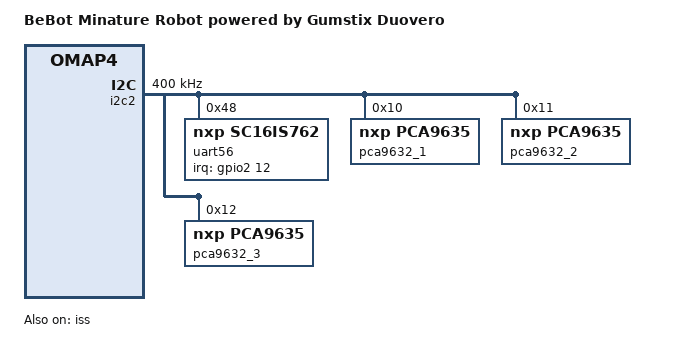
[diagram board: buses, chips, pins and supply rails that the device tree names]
/*
 * Copyright (C) 2014 Florian Vaussard, EPFL Mobots group
 *
 * This program is free software; you can redistribute it and/or modify
 * it under the terms of the GNU General Public License version 2 as
 * published by the Free Software Foundation.
 */
/dts-v1/;

#include "omap4-duovero.dtsi"

#include <dt-bindings/input/input.h>

/ {
	model = "BeBot Minature Robot powered by Gumstix Duovero";
	compatible = "upb,omap4-duovero-bebot", "gumstix,omap4-duovero", "ti,omap4430", "ti,omap4";

	ocp {
		iss: iss@52000000 {
			compatible = "ti,omap4-iss";
			reg = <0x52000000 0x100>, /* top */
			      <0x52001000 0x170>, /* csi2_a_regs1 */
			      <0x52001170 0x020>, /* camerarx_core1 */
			      <0x52001400 0x170>, /* csi2_b_regs1 */
			      <0x52001570 0x020>, /* camerarx_core2 */
			      <0x52002000 0x200>, /* bte */
			      <0x52010000 0x0a0>, /* isp_sys1 */
			      <0x52010400 0x400>, /* isp_resizer */
			      <0x52010800 0x800>, /* isp_ipipe */
			      <0x52011000 0x200>, /* isp_isif */
			      <0x52011200 0x080>; /* isp_ipipeif */
			reg-names = "top",
			            "csi2_a_regs1",
			            "camerarx_core1",
			            "csi2_b_regs1",
			            "camerarx_core2",
			            "bte",
			            "isp_sys1",
			            "isp_resizer",
			            "isp_ipipe",
			            "isp_isif",
			            "isp_ipipeif";
			status = "ok";
			ti,hwmods = "iss";
			interrupts = <GIC_SPI 24 IRQ_TYPE_LEVEL_HIGH>;
			//clocks = <&ducati_clk_mux_ck>, <&iss_ctrlclk>;
			//clock-names = "fck", "iss_ctrlclk";
			dmas = <&sdma 9>, <&sdma 10>, <&sdma 12>, <&sdma 13>;
			dma-names = "1", "2", "3", "4";

		        csi21: csi2 {
				endpoint {
					channel = "0";
					clock-lanes = <0>;
					data-lanes = <1>;
					//remote-endpoint = <&ov5640_1>;
				};
			};
		};
	};

};

&omap4_pmx_core {
	pinctrl-0 = <
			&uart56ctrl_pins
			&uart78ctrl_pins
	>;
	
	i2c2_pins: pinmux_i2c2_pins {
		pinctrl-single,pins = <
			OMAP4_IOPAD(0x126, PIN_INPUT_PULLUP | MUX_MODE0)	/* i2c2_scl */
			OMAP4_IOPAD(0x128, PIN_INPUT_PULLUP | MUX_MODE0)	/* i2c2_sda */
		>;
	};

	i2c3_pins: pinmux_i2c3_pins {
		pinctrl-single,pins = <
			OMAP4_IOPAD(0x12a, PIN_INPUT_PULLUP | MUX_MODE0)	/* i2c3_scl */
			OMAP4_IOPAD(0x12c, PIN_INPUT_PULLUP | MUX_MODE0)	/* i2c3_sda */
		>;
	};

	uart56ctrl_pins: pinmux_uart56ctrl_pins {
		pinctrl-single,pins = <
			OMAP4_IOPAD(0x068, PIN_INPUT_PULLUP | MUX_MODE3)	/* gpmc_a20.gpio_44: IRQ */
			OMAP4_IOPAD(0x06a, PIN_INPUT_PULLUP | MUX_MODE3)	/* gpmc_a21.gpio_45: NRST */
			OMAP4_IOPAD(0x0bc, PIN_OUTPUT | MUX_MODE3)		/* cam_shutter.gpio_81: CLK_EN */
		>;
	};

	uart78ctrl_pins: pinmux_uart78ctrl_pins {
		pinctrl-single,pins = <
			OMAP4_IOPAD(0x070, PIN_INPUT_PULLUP | MUX_MODE3)	/* gpmc_a24.gpio_48: IRQ */
			OMAP4_IOPAD(0x06c, PIN_INPUT_PULLUP | MUX_MODE3)	/* gpmc_a24.gpio_46: NRST */
			OMAP4_IOPAD(0x0be, PIN_OUTPUT | MUX_MODE3)		/* cam_strobe.gpio_82: CLK_EN */
		>;
	};

	iss_csi21_pins: pinmux_iss_csi21_pins {
		pinctrl-single,pins = <
			OMAP4_IOPAD(0x0a0, PIN_INPUT | MUX_MODE0)		/* csi21_dx0.csi21_dx0 */
			OMAP4_IOPAD(0x0a2, PIN_INPUT | MUX_MODE0)		/* csi21_dy0.csi21_dy0 */
			OMAP4_IOPAD(0x0a4, PIN_INPUT | MUX_MODE0)		/* csi21_dx1.csi21_dx1 */
			OMAP4_IOPAD(0x0a6, PIN_INPUT | MUX_MODE0)		/* csi21_dy1.csi21_dy1 */
			OMAP4_IOPAD(0x0a8, PIN_INPUT | MUX_MODE0)		/* csi21_dx2.csi21_dx2 */
			OMAP4_IOPAD(0x0aa, PIN_INPUT | MUX_MODE0)		/* csi21_dy2.csi21_dy2 */
		>;
	};
};

&i2c2 {
	pinctrl-names = "default";
	pinctrl-0 = <&i2c2_pins>;

	clock-frequency = <400000>;


	uart56: sc16is762@48 {
                compatible = "nxp,sc16is762";
                reg = <0x48>;
                clocks = <&uart56_clk>;

		interrupt-parent = <&gpio2>;
		interrupts = <12 IRQ_TYPE_EDGE_FALLING>;	/* gpio_44 */

		uart56_clocks: clocks {

			uart56_osc: oscillator {
				compatible = "fixed-clock";
				#clock-cells = <0>;
				clock-frequency = <1843200>;
			};

			uart56_clk: clock {
				compatible = "gpio-gate-clock";
				clocks = <&uart56_osc>;
				#clock-cells = <0>;
				enable-gpios = <&gpio3 17 GPIO_ACTIVE_HIGH>;
			};
		};
	};

	pca9632_1: pca9632@10 {
		compatible = "nxp,pca9635";
		#address-cells = <1>;
		#size-cells = <0>;
		reg = <0x10>;

		ledring1_red@0 {
			label = "led_ring[1]:red";
			reg = <0>;
			linux,default-trigger = "none";
		};
		ledring1_green@1 {
			label = "led_ring[1]:green";
			reg = <1>;
			linux,default-trigger = "none";
		};
		ledring1_blue@2 {
			label = "led_ring[1]:blue";
			reg = <2>;
			linux,default-trigger = "none";
		};
		ledring2_red@4 {
			label = "led_ring[2]:red";
			reg = <4>;
			linux,default-trigger = "none";
		};
		ledring2_green@5 {
			label = "led_ring[2]:green";
			reg = <5>;
			linux,default-trigger = "none";
		};
		ledring2_blue@6 {
			label = "led_ring[2]:blue";
			reg = <6>;
			linux,default-trigger = "none";
		};
		ledring3_red@8 {
			label = "led_ring[3]:red";
			reg = <8>;
			linux,default-trigger = "none";
		};
		ledring3_green@9 {
			label = "led_ring[3]:green";
			reg = <9>;
			linux,default-trigger = "none";
		};
		ledring3_blue@10 {
			label = "led_ring[3]:blue";
			reg = <10>;
			linux,default-trigger = "none";
		};
		ledring4_red@12 {
			label = "led_ring[4]:red";
			reg = <12>;
			linux,default-trigger = "none";
		};
		ledring4_green@13 {
			label = "led_ring[4]:green";
			reg = <13>;
			linux,default-trigger = "none";
		};
		ledring4_blue@14 {
			label = "led_ring[4]:blue";
			reg = <14>;
			linux,default-trigger = "none";
		};
		unused0@3 {
			reg = <3>;
			linux,default-trigger = "none";
		};
		unused1@7 {
			reg = <7>;
			linux,default-trigger = "none";
		};
		unused2@11 {
			reg = <11>;
			linux,default-trigger = "none";
		};
		unused3@15 {
			reg = <15>;
			linux,default-trigger = "none";
		};
	};

	pca9632_2: pca9632@11 {
		compatible = "nxp,pca9635";
		#address-cells = <1>;
		#size-cells = <0>;
		reg = <0x11>;

		ledring5_red@0 {
			label = "led_ring[5]:red";
			reg = <0>;
			linux,default-trigger = "none";
		};
		ledring5_green@1 {
			label = "led_ring[5]:green";
			reg = <1>;
			linux,default-trigger = "none";
		};
		ledring5_blue@2 {
			label = "led_ring[5]:blue";
			reg = <2>;
			linux,default-trigger = "none";
		};
		ledring6_red@4 {
			label = "led_ring[6]:red";
			reg = <4>;
			linux,default-trigger = "none";
		};
		ledring6_green@5 {
			label = "led_ring[6]:green";
			reg = <5>;
			linux,default-trigger = "none";
		};
		ledring6_blue@6 {
			label = "led_ring[6]:blue";
			reg = <6>;
			linux,default-trigger = "none";
		};
		ledring7_red@8 {
			label = "led_ring[7]:red";
			reg = <8>;
			linux,default-trigger = "none";
		};
		ledring7_green@9 {
			label = "led_ring[7]:green";
			reg = <9>;
			linux,default-trigger = "none";
		};
		ledring7_blue@10 {
			label = "led_ring[7]:blue";
			reg = <10>;
			linux,default-trigger = "none";
		};
		ledring8_red@12 {
			label = "led_ring[8]:red";
			reg = <12>;
			linux,default-trigger = "none";
		};
		ledring8_green@13 {
			label = "led_ring[8]:green";
			reg = <13>;
			linux,default-trigger = "none";
		};
		ledring8_blue@14 {
			label = "led_ring[8]:blue";
			reg = <14>;
			linux,default-trigger = "none";
		};
		unused4@3 {
			reg = <3>;
			linux,default-trigger = "none";
		};
		unused5@7 {
			reg = <7>;
			linux,default-trigger = "none";
		};
		unused6@11 {
			reg = <11>;
			linux,default-trigger = "none";
		};
		unused7@15 {
			reg = <15>;
			linux,default-trigger = "none";
		};
	};

	pca9632_3: pca9632@12 {
		compatible = "nxp,pca9635";
		#address-cells = <1>;
		#size-cells = <0>;
		reg = <0x12>;

		ledring9_red@0 {
			label = "led_ring[9]:red";
			reg = <0>;
			linux,default-trigger = "none";
		};
		ledring9_green@1 {
			label = "led_ring[9]:green";
			reg = <1>;
			linux,default-trigger = "none";
		};
		ledring9_blue@2 {
			label = "led_ring[9]:blue";
			reg = <2>;
			linux,default-trigger = "none";
		};
		ledring10_red@4 {
			label = "led_ring[10]:red";
			reg = <4>;
			linux,default-trigger = "none";
		};
		ledring10_green@5 {
			label = "led_ring[10]:green";
			reg = <5>;
			linux,default-trigger = "none";
		};
		ledring10_blue@6 {
			label = "led_ring[10]:blue";
			reg = <6>;
			linux,default-trigger = "none";
		};
		ledring11_red@8 {
			label = "led_ring[11]:red";
			reg = <8>;
			linux,default-trigger = "none";
		};
		ledring11_green@9 {
			label = "led_ring[11]:green";
			reg = <9>;
			linux,default-trigger = "none";
		};
		ledring11_blue@10 {
			label = "led_ring[11]:blue";
			reg = <10>;
			linux,default-trigger = "none";
		};
		ledring12_red@12 {
			label = "led_ring[12]:red";
			reg = <12>;
			linux,default-trigger = "none";
		};
		ledring12_green@13 {
			label = "led_ring[12]:green";
			reg = <13>;
			linux,default-trigger = "none";
		};
		ledring12_blue@14 {
			label = "led_ring[12]:blue";
			reg = <14>;
			linux,default-trigger = "none";
		};
		unused8@3 {
			reg = <3>;
			linux,default-trigger = "none";
		};
		unused9@7 {
			reg = <7>;
			linux,default-trigger = "none";
		};
		unused10@11 {
			reg = <11>;
			linux,default-trigger = "none";
		};
		unused11@15 {
			reg = <15>;
			linux,default-trigger = "none";
		};
	};
};
/*
&i2c3 {
	pinctrl-names = "default";
	pinctrl-0 = <&i2c3_pins>;
	status = "ok";

	clock-frequency = <100000>;

	ov5640: camera@3c {
		compatible = "omnivision,ov5640";
		status = "ok";
		reg = <0x3c>;

		pwdn-gpios = <&gpio3 18 GPIO_ACTIVE_HIGH>;	// gpio_82 - power down
		reset-gpios = <&gpio3 19 GPIO_ACTIVE_LOW>;	// gpio_83 - reset

		clocks = <&auxclk1_ck>;
		
		port {
			ov5640_1: endpoint {
				clock-lanes = <0>;
				data-lanes = <1>;
				remote-endpoint = <&csi21>;
			};
		};
	};
};
*/
&mmc3 {
	status = "disabled";
};

&iss {
	status = "ok";

	pinctrl-names = "default";
	pinctrl-0 = <&iss_csi21_pins>;
};

